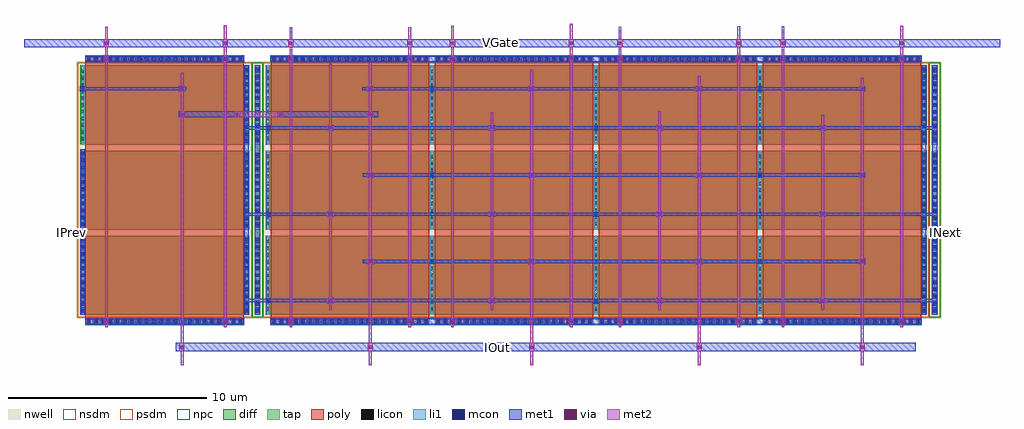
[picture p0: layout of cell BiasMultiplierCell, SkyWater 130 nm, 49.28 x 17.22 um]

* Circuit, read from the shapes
.subckt BiasMultiplierCell INext IOut IPrev VGate
XM1 INext VGate IPrev INext sky130_fd_pr__pfet_01v8 w=4 l=8 m=2
XM2 INext VGate IOut INext sky130_fd_pr__pfet_01v8 w=4 l=8 m=13
.ends

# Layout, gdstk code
import gdstk
lib = gdstk.Library(unit=1e-6, precision=1e-09)
def R(c, l, rs):  # rectangles x0, y0, x1, y1
    for r in rs: c.add(gdstk.rectangle(r[:2], r[2:], *l))
def A(c, l, x, y, w, h, nx, ny, dx, dy):  # array of equal rectangles
    R(c, l, [(x+i*dx, y+j*dy, x+i*dx+w, y+j*dy+h) for i in range(nx) for j in range(ny)])
nwell = (64, 20)
diff = (65, 20)
tap = (65, 44)
poly = (66, 20)
licon = (66, 44)
li1 = (67, 20)
mcon = (67, 44)
met1 = (68, 20)
via = (68, 44)
met2 = (69, 20)
nsdm = (93, 44)
psdm = (94, 20)
npc = (95, 20)

biasmultipliercell = lib.new_cell('BiasMultiplierCell')
R(biasmultipliercell, nwell, [(2.66,2.195,46.31,15.155)])
A(biasmultipliercell, diff, 2.84, 2.375, 8.53, 4, 1, 3, 0, 4.3)
A(biasmultipliercell, diff, 12.2, 2.375, 33.37, 4, 1, 3, 0, 4.3)
A(biasmultipliercell, diff, 11.7, 2.59, 0.17, 0.17, 1, 11, 0, 0.34)
A(biasmultipliercell, diff, 11.7, 6.89, 0.17, 0.17, 1, 11, 0, 0.34)
A(biasmultipliercell, diff, 11.7, 11.19, 0.17, 0.17, 1, 11, 0, 0.34)
R(biasmultipliercell, diff, [(11.65,2.375,11.92,14.975)])
A(biasmultipliercell, tap, 45.84, 2.375, 0.29, 4, 1, 3, 0, 4.3)
A(biasmultipliercell, poly, 12.465, 1.915, 8, 13.52, 4, 1, 8.28, 0)
R(biasmultipliercell, poly, [(3.105,1.915,11.105,15.435)])
A(biasmultipliercell, licon, 3.185, 1.965, 0.17, 0.17, 7, 2, 0.345, 13.25)
A(biasmultipliercell, licon, 5.605, 1.965, 0.17, 0.17, 16, 2, 0.35, 13.25)
A(biasmultipliercell, licon, 12.545, 1.965, 0.17, 0.17, 7, 1, 0.345, 0)
A(biasmultipliercell, licon, 14.965, 1.965, 0.17, 0.17, 16, 1, 0.35, 0)
A(biasmultipliercell, licon, 20.825, 1.965, 0.17, 0.17, 7, 2, 0.345, 13.25)
A(biasmultipliercell, licon, 23.245, 1.965, 0.17, 0.17, 16, 2, 0.35, 13.25)
A(biasmultipliercell, licon, 29.105, 1.965, 0.17, 0.17, 17, 2, 0.35, 13.25)
A(biasmultipliercell, licon, 35.05, 1.965, 0.17, 0.17, 6, 2, 0.345, 13.25)
A(biasmultipliercell, licon, 37.385, 1.965, 0.17, 0.17, 7, 2, 0.345, 13.25)
A(biasmultipliercell, licon, 39.805, 1.965, 0.17, 0.17, 16, 2, 0.35, 13.25)
A(biasmultipliercell, licon, 2.88, 2.59, 0.17, 0.17, 1, 11, 0, 0.34)
A(biasmultipliercell, licon, 11.16, 2.59, 0.17, 0.17, 3, 11, 0.54, 0.34)
A(biasmultipliercell, licon, 20.52, 2.59, 0.17, 0.17, 4, 11, 8.28, 0.34)
A(biasmultipliercell, licon, 45.9, 2.59, 0.17, 0.17, 1, 11, 0, 0.34)
A(biasmultipliercell, licon, 2.88, 6.89, 0.17, 0.17, 1, 11, 0, 0.34)
A(biasmultipliercell, licon, 11.16, 6.89, 0.17, 0.17, 3, 11, 0.54, 0.34)
A(biasmultipliercell, licon, 20.52, 6.89, 0.17, 0.17, 4, 11, 8.28, 0.34)
A(biasmultipliercell, licon, 45.9, 6.89, 0.17, 0.17, 1, 11, 0, 0.34)
A(biasmultipliercell, licon, 2.88, 11.19, 0.17, 0.17, 1, 11, 0, 0.34)
A(biasmultipliercell, licon, 11.16, 11.19, 0.17, 0.17, 3, 11, 0.54, 0.34)
A(biasmultipliercell, licon, 20.52, 11.19, 0.17, 0.17, 4, 11, 8.28, 0.34)
A(biasmultipliercell, licon, 45.9, 11.19, 0.17, 0.17, 1, 11, 0, 0.34)
A(biasmultipliercell, licon, 12.545, 15.215, 0.17, 0.17, 17, 1, 0.35, 0)
A(biasmultipliercell, licon, 18.49, 15.215, 0.17, 0.17, 6, 1, 0.345, 0)
A(biasmultipliercell, li1, 12.465, 1.935, 8, 0.23, 4, 2, 8.28, 13.25)
A(biasmultipliercell, li1, 11.16, 2.375, 0.17, 4, 1, 3, 0, 4.3)
A(biasmultipliercell, li1, 11.65, 2.375, 0.27, 4, 1, 3, 0, 4.3)
A(biasmultipliercell, li1, 45.85, 2.375, 0.27, 4, 1, 3, 0, 4.3)
A(biasmultipliercell, li1, 12.24, 3.01, 0.185, 0.17, 1, 3, 0, 4.36)
A(biasmultipliercell, li1, 20.52, 4.99, 0.18, 0.17, 1, 3, 0, 4.36)
A(biasmultipliercell, li1, 28.8, 6.675, 0.17, 4, 3, 2, 8.28, 4.3)
R(biasmultipliercell, li1, [(3.105,1.935,11.105,2.165), (2.88,2.375,3.05,6.375), (12.24,2.375,12.41,3.01), (20.52,2.375,20.69,4.99), (28.8,2.375,28.97,6.375), (37.08,2.375,37.25,6.375), (45.355,2.375,45.53,6.375), (12.24,3.18,12.41,6.375), (20.52,5.16,20.69,6.375), (2.88,6.675,3.05,10.735), (12.24,6.675,12.41,7.37), (20.52,6.675,20.69,9.35), (12.24,7.54,12.41,10.675), (20.52,9.52,20.69,10.675), (2.88,10.975,3.05,14.975), (12.24,10.975,12.41,11.73), (20.52,10.975,20.69,13.71), (12.24,11.9,12.41,14.975), (20.52,13.88,20.69,14.975), (3.105,15.185,11.105,15.415)])
A(biasmultipliercell, mcon, 3.185, 1.965, 0.17, 0.17, 21, 2, 0.365, 13.25)
A(biasmultipliercell, mcon, 12.545, 1.965, 0.17, 0.17, 21, 1, 0.365, 0)
A(biasmultipliercell, mcon, 20.825, 1.965, 0.17, 0.17, 21, 2, 0.365, 13.25)
A(biasmultipliercell, mcon, 29.475, 1.965, 0.17, 0.17, 21, 2, 0.365, 13.25)
A(biasmultipliercell, mcon, 37.385, 1.965, 0.17, 0.17, 21, 2, 0.365, 13.25)
A(biasmultipliercell, mcon, 2.88, 2.49, 0.17, 0.17, 1, 11, 0, 0.36)
A(biasmultipliercell, mcon, 11.16, 2.49, 0.17, 0.17, 1, 11, 0, 0.36)
A(biasmultipliercell, mcon, 11.7, 2.49, 0.17, 0.17, 1, 11, 0, 0.36)
A(biasmultipliercell, mcon, 45.355, 2.49, 0.17, 0.17, 1, 11, 0, 0.36)
A(biasmultipliercell, mcon, 45.9, 2.49, 0.17, 0.17, 1, 11, 0, 0.36)
A(biasmultipliercell, mcon, 12.255, 3.01, 0.17, 0.17, 1, 3, 0, 4.36)
A(biasmultipliercell, mcon, 20.525, 4.99, 0.17, 0.17, 1, 3, 0, 4.36)
A(biasmultipliercell, mcon, 37.08, 4.99, 0.17, 0.17, 1, 3, 0, 4.36)
A(biasmultipliercell, mcon, 11.16, 6.79, 0.17, 0.17, 1, 11, 0, 0.36)
A(biasmultipliercell, mcon, 11.7, 6.79, 0.17, 0.17, 1, 11, 0, 0.36)
A(biasmultipliercell, mcon, 45.36, 6.79, 0.17, 0.17, 1, 11, 0, 0.36)
A(biasmultipliercell, mcon, 45.9, 6.79, 0.17, 0.17, 1, 11, 0, 0.36)
A(biasmultipliercell, mcon, 2.88, 6.85, 0.17, 0.17, 1, 11, 0, 0.36)
A(biasmultipliercell, mcon, 11.16, 11.065, 0.17, 0.17, 1, 11, 0, 0.36)
A(biasmultipliercell, mcon, 11.7, 11.09, 0.17, 0.17, 1, 11, 0, 0.36)
A(biasmultipliercell, mcon, 45.36, 11.09, 0.17, 0.17, 1, 11, 0, 0.36)
A(biasmultipliercell, mcon, 45.9, 11.09, 0.17, 0.17, 1, 11, 0, 0.36)
A(biasmultipliercell, mcon, 12.915, 15.215, 0.17, 0.17, 21, 1, 0.365, 0)
R(biasmultipliercell, mcon, [(10.855,1.965,11.025,2.135), (20.215,1.965,20.385,2.135), (28.495,1.965,28.665,2.135), (29.105,1.965,29.275,2.135), (45.055,1.965,45.225,2.135), (28.8,2.98,28.97,3.15), (28.8,7.37,28.97,7.54), (28.8,11.73,28.97,11.9), (2.88,13.71,3.05,13.88), (10.855,15.215,11.025,15.385), (12.545,15.215,12.715,15.385), (28.495,15.215,28.665,15.385), (29.105,15.215,29.275,15.385), (45.055,15.215,45.225,15.385)])
A(biasmultipliercell, met1, 11.13, 3.01, 34.99, 0.17, 1, 3, 0, 4.36)
R(biasmultipliercell, met1, [(7.66,0.54,45.025,0.96), (3.105,1.915,11.105,2.185), (12.465,1.915,45.305,2.185), (2.85,2.375,3.08,6.46), (11.13,2.375,11.36,3.01), (11.65,2.375,11.92,3.01), (45.325,2.375,45.555,3.01), (45.85,2.375,46.12,3.01), (28.74,2.95,29.03,3.01), (15.32,2.965,15.64,3.01), (23.475,2.965,23.795,3.01), (31.93,2.965,32.25,3.01), (40.165,2.965,40.485,3.01), (12.195,2.98,12.485,3.01), (11.13,3.18,11.36,7.37), (11.65,3.18,11.92,7.37), (12.195,3.18,12.485,3.21), (15.32,3.18,15.64,3.225), (23.475,3.18,23.795,3.225), (31.93,3.18,32.25,3.225), (40.165,3.18,40.485,3.225), (45.325,3.18,45.555,6.675), (45.85,3.18,46.12,6.46), (17.32,4.945,17.64,4.99), (25.475,4.945,25.795,4.99), (33.93,4.945,34.25,4.99), (42.165,4.945,42.485,4.99), (20.465,4.96,20.755,4.99), (37.02,4.96,37.31,4.99), (17.1,4.99,42.485,5.16), (17.32,5.16,17.64,5.205), (20.465,5.16,20.755,5.19), (25.475,5.16,25.795,5.205), (33.93,5.16,34.25,5.205), (37.02,5.16,37.31,5.19), (42.165,5.16,42.485,5.205), (1.66,6.46,3.08,6.63), (45.85,6.46,47.31,6.63), (2.85,6.63,3.08,10.735), (45.85,6.63,46.12,7.37), (45.325,6.675,45.56,7.37), (15.32,7.325,15.64,7.37), (23.475,7.325,23.795,7.37), (31.93,7.325,32.25,7.37), (40.165,7.325,40.485,7.37), (12.195,7.34,12.485,7.37), (28.74,7.34,29.03,7.37), (11.13,7.54,11.36,11.73), (11.65,7.54,11.92,11.73), (12.195,7.54,12.485,7.57), (15.32,7.54,15.64,7.585), (23.475,7.54,23.795,7.585), (28.74,7.54,29.03,7.57), (31.93,7.54,32.25,7.585), (40.165,7.54,40.485,7.585), (45.325,7.54,45.56,10.675), (45.85,7.54,46.12,11.73), (17.32,9.305,17.64,9.35), (25.475,9.305,25.795,9.35), (33.93,9.305,34.25,9.35), (42.165,9.305,42.485,9.35), (20.465,9.32,20.755,9.35), (37.02,9.32,37.31,9.35), (17.1,9.35,42.485,9.52), (17.32,9.52,17.64,9.565), (20.465,9.52,20.755,9.55), (25.475,9.52,25.795,9.565), (33.93,9.52,34.25,9.565), (37.02,9.52,37.31,9.55), (42.165,9.52,42.485,9.565), (45.325,10.675,45.555,10.975), (45.325,10.975,45.56,11.73), (15.32,11.685,15.64,11.73), (23.475,11.685,23.795,11.73), (31.93,11.685,32.25,11.73), (40.165,11.685,40.485,11.73), (12.195,11.7,12.485,11.73), (28.74,11.7,29.03,11.73), (11.13,11.9,11.36,14.975), (11.65,11.9,11.92,14.975), (12.195,11.9,12.485,11.93), (15.32,11.9,15.64,11.945), (23.475,11.9,23.795,11.945), (28.74,11.9,29.03,11.93), (31.93,11.9,32.25,11.945), (40.165,11.9,40.485,11.945), (45.325,11.9,45.56,14.96), (45.85,11.9,46.12,14.975), (7.825,12.355,10.845,12.36), (12.885,12.355,17.885,12.36), (7.825,12.36,10.915,12.65), (12.78,12.36,17.885,12.65), (7.825,12.65,10.845,12.655), (12.885,12.65,17.885,12.655), (7.81,13.665,8.13,13.71), (17.32,13.665,17.64,13.71), (25.475,13.665,25.795,13.71), (33.93,13.665,34.25,13.71), (42.165,13.665,42.485,13.71), (2.82,13.68,3.11,13.71), (20.465,13.68,20.755,13.71), (37.02,13.68,37.31,13.71), (2.82,13.71,8.185,13.88), (17.09,13.71,42.485,13.88), (2.82,13.88,3.11,13.91), (7.81,13.88,8.13,13.925), (17.32,13.88,17.64,13.925), (20.465,13.88,20.755,13.91), (25.475,13.88,25.795,13.925), (33.93,13.88,34.25,13.925), (37.02,13.88,37.31,13.91), (42.165,13.88,42.485,13.925), (45.33,14.96,45.56,14.975), (3.105,15.165,11.105,15.435), (12.465,15.165,45.305,15.435), (0,15.885,49.28,16.305)])
A(biasmultipliercell, via, 15.405, 3.02, 0.15, 0.15, 1, 3, 0, 4.36)
A(biasmultipliercell, via, 23.56, 3.02, 0.15, 0.15, 1, 3, 0, 4.36)
A(biasmultipliercell, via, 32.015, 3.02, 0.15, 0.15, 1, 3, 0, 4.36)
A(biasmultipliercell, via, 40.25, 3.02, 0.15, 0.15, 1, 3, 0, 4.36)
A(biasmultipliercell, via, 25.56, 5, 0.15, 0.15, 1, 3, 0, 4.36)
A(biasmultipliercell, via, 34.015, 5, 0.15, 0.15, 1, 3, 0, 4.36)
A(biasmultipliercell, via, 42.25, 5, 0.15, 0.15, 1, 3, 0, 4.36)
R(biasmultipliercell, via, [(7.895,0.675,8.045,0.825), (17.405,0.675,17.555,0.825), (25.56,0.675,25.71,0.825), (34.015,0.675,34.165,0.825), (42.25,0.675,42.4,0.825), (4.085,1.975,4.235,2.125), (10.085,1.975,10.235,2.125), (13.405,1.975,13.555,2.125), (19.405,1.975,19.555,2.125), (21.56,1.975,21.71,2.125), (27.56,1.975,27.71,2.125), (30.015,1.975,30.165,2.125), (36.015,1.975,36.165,2.125), (38.25,1.975,38.4,2.125), (44.25,1.975,44.4,2.125), (17.405,5,17.555,5.15), (17.405,9.36,17.555,9.51), (10.68,12.425,10.83,12.575), (12.865,12.425,13.015,12.575), (7.91,12.43,8.06,12.58), (17.405,12.43,17.555,12.58), (7.895,13.72,8.045,13.87), (17.405,13.72,17.555,13.87), (4.085,15.225,4.235,15.375), (10.085,15.225,10.235,15.375), (13.405,15.225,13.555,15.375), (19.405,15.225,19.555,15.375), (21.56,15.225,21.71,15.375), (27.56,15.225,27.71,15.375), (30.015,15.225,30.165,15.375), (36.015,15.225,36.165,15.375), (38.25,15.225,38.4,15.375), (44.25,15.225,44.4,15.375), (4.085,16.02,4.235,16.17), (10.085,16.02,10.235,16.17), (13.405,16.02,13.555,16.17), (19.405,16.02,19.555,16.17), (21.56,16.02,21.71,16.17), (27.56,16.02,27.71,16.17), (30.015,16.02,30.165,16.17), (36.015,16.02,36.165,16.17), (38.25,16.02,38.4,16.17), (44.25,16.02,44.4,16.17)])
A(biasmultipliercell, met2, 15.35, 2.935, 0.26, 0.32, 1, 3, 0, 4.36)
A(biasmultipliercell, met2, 23.505, 2.935, 0.26, 0.32, 1, 3, 0, 4.36)
A(biasmultipliercell, met2, 31.96, 2.935, 0.26, 0.32, 1, 3, 0, 4.36)
A(biasmultipliercell, met2, 40.195, 2.935, 0.26, 0.32, 1, 3, 0, 4.36)
A(biasmultipliercell, met2, 25.505, 4.915, 0.26, 0.32, 1, 3, 0, 4.36)
A(biasmultipliercell, met2, 33.96, 4.915, 0.26, 0.32, 1, 3, 0, 4.36)
A(biasmultipliercell, met2, 42.195, 4.915, 0.26, 0.32, 1, 3, 0, 4.36)
R(biasmultipliercell, met2, [(7.915,-0.155,8.055,0.54), (17.41,-0.155,17.55,0.54), (25.565,-0.155,25.705,0.54), (34.02,-0.155,34.16,0.54), (42.255,-0.155,42.395,0.54), (7.84,0.54,8.1,0.96), (17.35,0.54,17.61,0.96), (25.505,0.54,25.765,0.96), (33.96,0.54,34.22,0.96), (42.195,0.54,42.455,0.96), (7.915,0.96,8.055,12.345), (17.41,0.96,17.55,4.915), (25.565,0.96,25.705,4.915), (34.02,0.96,34.16,4.915), (42.255,0.96,42.395,4.915), (4.09,1.755,4.23,1.89), (10.09,1.755,10.23,1.89), (13.41,1.755,13.55,1.89), (19.41,1.755,19.55,1.89), (21.565,1.755,21.705,1.89), (27.565,1.755,27.705,1.89), (30.02,1.755,30.16,1.89), (36.02,1.755,36.16,1.89), (38.255,1.755,38.395,1.89), (44.255,1.755,44.395,1.89), (4.03,1.89,4.29,2.21), (10.03,1.89,10.29,2.21), (13.35,1.89,13.61,2.21), (19.35,1.89,19.61,2.21), (21.505,1.89,21.765,2.21), (27.505,1.89,27.765,2.21), (29.96,1.89,30.22,2.21), (35.96,1.89,36.22,2.21), (38.195,1.89,38.455,2.21), (44.195,1.89,44.455,2.21), (4.09,2.21,4.23,15.14), (10.09,2.21,10.23,15.14), (13.41,2.21,13.55,15.14), (19.41,2.21,19.55,15.14), (21.565,2.21,21.705,15.14), (27.565,2.21,27.705,15.14), (30.02,2.21,30.16,15.14), (36.02,2.21,36.16,15.14), (38.255,2.21,38.395,15.14), (44.255,2.21,44.395,15.14), (15.41,2.615,15.55,2.935), (23.565,2.615,23.705,2.935), (32.02,2.615,32.16,2.935), (40.255,2.615,40.395,2.935), (15.41,3.255,15.55,7.295), (23.565,3.255,23.705,7.295), (32.02,3.255,32.16,7.295), (40.255,3.255,40.395,7.295), (17.35,4.915,17.61,5.235), (17.41,5.235,17.55,9.275), (25.565,5.235,25.705,9.275), (34.02,5.235,34.16,9.275), (42.255,5.235,42.395,9.275), (15.41,7.615,15.55,11.655), (23.565,7.615,23.705,11.655), (32.02,7.615,32.16,11.655), (40.255,7.615,40.395,11.655), (17.35,9.275,17.61,9.595), (17.41,9.595,17.55,12.345), (25.565,9.595,25.705,13.635), (34.02,9.595,34.16,13.635), (42.255,9.595,42.395,13.635), (15.41,11.975,15.55,15.055), (23.565,11.975,23.705,12.6), (32.02,11.975,32.16,12.665), (40.255,11.975,40.395,12.475), (7.855,12.345,8.115,12.665), (17.35,12.345,17.61,12.665), (10.665,12.35,13.1,12.36), (10.595,12.36,13.1,12.65), (7.915,12.665,8.055,13.635), (17.41,12.665,17.55,13.635), (7.84,13.635,8.1,13.955), (17.35,13.635,17.61,13.955), (7.915,13.955,8.055,14.59), (17.41,13.955,17.55,15.13), (25.565,13.955,25.705,14.765), (34.02,13.955,34.16,14.46), (42.255,13.955,42.395,14.345), (4.03,15.14,4.29,15.46), (10.03,15.14,10.29,15.46), (13.35,15.14,13.61,15.46), (19.35,15.14,19.61,15.46), (21.505,15.14,21.765,15.46), (27.505,15.14,27.765,15.46), (29.96,15.14,30.22,15.46), (35.96,15.14,36.22,15.46), (38.195,15.14,38.455,15.46), (44.195,15.14,44.455,15.46), (4.09,15.46,4.23,15.885), (10.09,15.46,10.23,15.885), (13.41,15.46,13.55,15.885), (19.41,15.46,19.55,15.885), (21.565,15.46,21.705,15.885), (27.565,15.46,27.705,15.885), (30.02,15.46,30.16,15.885), (36.02,15.46,36.16,15.885), (38.255,15.46,38.395,15.885), (44.255,15.46,44.395,15.885), (4.03,15.885,4.29,16.305), (10.03,15.885,10.29,16.305), (13.35,15.885,13.61,16.305), (19.35,15.885,19.61,16.305), (21.505,15.885,21.765,16.305), (27.505,15.885,27.765,16.305), (29.96,15.885,30.22,16.305), (35.96,15.885,36.22,16.305), (38.195,15.885,38.455,16.305), (44.195,15.885,44.455,16.305), (4.09,16.305,4.23,16.915), (10.09,16.305,10.23,17.01), (13.41,16.305,13.55,16.91), (19.41,16.305,19.55,16.9), (21.565,16.305,21.705,16.97), (27.565,16.305,27.705,17.065), (30.02,16.305,30.16,16.93), (36.02,16.305,36.16,16.96), (38.255,16.305,38.395,16.96), (44.255,16.305,44.395,16.985)])
R(biasmultipliercell, nsdm, [(11.525,2.25,12.045,15.1), (45.715,2.25,46.255,15.1)])
R(biasmultipliercell, psdm, [(2.715,2.25,11.495,2.465), (2.715,2.25,11.495,15.1), (12.075,2.25,45.695,2.465), (12.075,2.465,45.695,14.885), (2.715,14.885,11.495,15.1), (12.075,14.885,45.695,15.1)])
R(biasmultipliercell, npc, [(3.085,1.865,11.125,2.235), (12.445,1.865,45.325,2.235), (3.085,15.115,11.125,15.485), (12.445,15.115,45.325,15.485)])
biasmultipliercell.add(gdstk.Label('IPrev', (2.395,6.54), layer=68, texttype=5))
biasmultipliercell.add(gdstk.Label('INext', (46.53,6.54), layer=68, texttype=5))
biasmultipliercell.add(gdstk.Label('IOut', (23.915,0.72), layer=68, texttype=5))
biasmultipliercell.add(gdstk.Label('VGate', (24.04,16.11), layer=68, texttype=5))

lib.write_gds('BiasMultiplierCell.gds')
